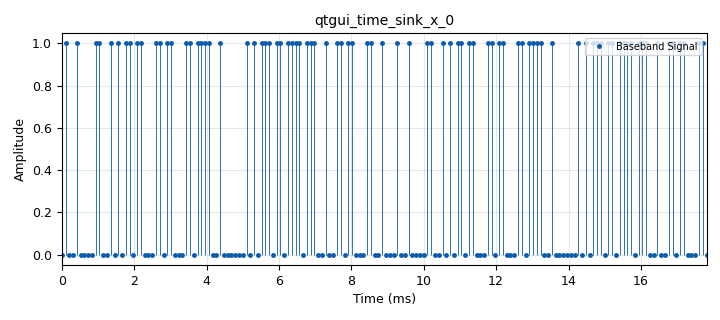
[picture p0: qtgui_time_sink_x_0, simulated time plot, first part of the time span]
options:
  parameters:
    author: jake
    generate_options: qt_gui
    id: Basic_Sim
    output_language: python
    title: Not titled yet
  states: {}

blocks:
- name: Tag1
  id: variable_tag_object
  parameters:
    key: pmt.intern("Start")
    offset: '0'
    src: pmt.intern("src")
    value: pmt.intern("Hello World")
  states: {}
- name: baudrate
  id: variable
  parameters:
    value: '9600'
  states: {}
- name: blocks_char_to_float_0
  id: blocks_char_to_float
  parameters:
    comment: |-
      Convert from 
      Char to Float
    scale: '1'
  states: {}
- name: blocks_packed_to_unpacked_xx_0
  id: blocks_packed_to_unpacked_xx
  parameters:
    bits_per_chunk: '1'
    comment: |-
      Byte to Serial Bit Conversion:
      [LSB first]
    endianness: gr.GR_MSB_FIRST
    type: byte
  states: {}
- name: blocks_throttle_0
  id: blocks_throttle
  parameters:
    comment: |-
      Limit processing to 
      sample rate
    samples_per_second: baudrate*10
    type: byte
  states: {}
- name: blocks_vector_source_x_0
  id: blocks_vector_source_x
  parameters:
    comment: |-
      Vector contaning ASCII hex 
      for "Hello World"
    repeat: 'True'
    tags: '[Tag1]'
    type: byte
    vector: (0x48, 0x65, 0x6C, 0x6C, 0x6F, 0x20, 0x57, 0x6F, 0x72, 0x6C, 0x64)
  states: {}
- name: qtgui_time_sink_x_0
  id: qtgui_time_sink_x
  parameters:
    autoscale: 'True'
    comment: |-
      Display Output in time domain.

      Params changed:
      Genral->Auto Scale:- Yes
      Config -> Control Panel:- Yes
      Config -> Stem Plot:- Yes
      Config -> Line Lable:- Baseband Signal
      Config -> Line Marker:- Circle
      Trigger-> Trigger Mode:- Tag
      Trigger-> Trigger Tag Key:- Start
    ctrlpanel: 'True'
    grid: 'True'
    label1: Baseband Signal
    marker1: '0'
    size: '1024'
    srate: baudrate
    stemplot: 'True'
    tr_mode: qtgui.TRIG_MODE_TAG
    tr_tag: '"Start"'
    type: float
  states: {}

connections:
- [blocks_char_to_float_0, '0', qtgui_time_sink_x_0, '0']
- [blocks_packed_to_unpacked_xx_0, '0', blocks_throttle_0, '0']
- [blocks_throttle_0, '0', blocks_char_to_float_0, '0']
- [blocks_vector_source_x_0, '0', blocks_packed_to_unpacked_xx_0, '0']

metadata:
  file_format: 1
